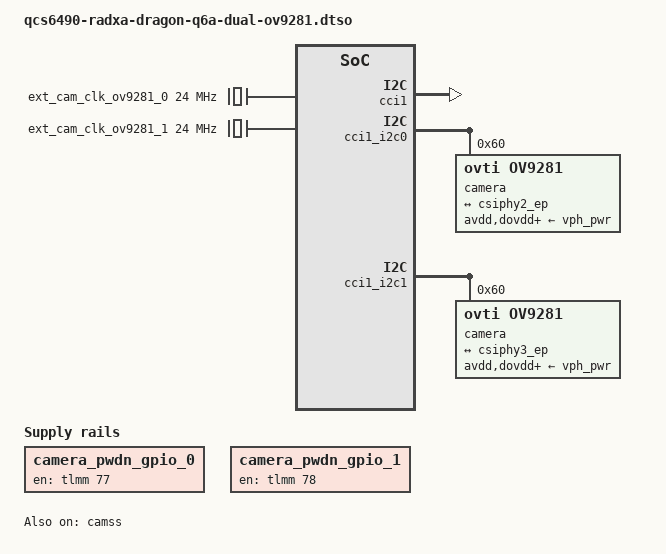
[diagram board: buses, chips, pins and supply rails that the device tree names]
// SPDX-License-Identifier: BSD-3-Clause
/*
 * Two Waveshare OV9281 cameras on the Dragon Q6A simultaneously.
 *
 * Extends the verified single-camera wiring with a second OV9281:
 *   CAM2 path: cci1_i2c0 / CSIPHY2 (port@2), sensor @ 0x60
 *   CAM3 path: cci1_i2c1 / CSIPHY3 (port@3), sensor @ 0x60
 * Both sensors are at I2C 0x60 but on separate CCI buses, so no conflict.
 * Power: both gpio77 and gpio78 are asserted high (verified the modules need
 * these). Modules self-clock (no host MCLK pin) -> virtual fixed-clocks.
 */

/dts-v1/;
/plugin/;

#include <dt-bindings/gpio/gpio.h>

/ {
	metadata {
		title = "Enable two Waveshare OV9281 cameras (CAM2 + CAM3)";
		compatible = "radxa,dragon-q6a";
		category = "camera";
		exclusive = "cci1_i2c0", "cci1_i2c1";
		description = "Dual Waveshare OV9281 mono global-shutter cameras.";
	};
};

&{/} {
	ext_cam_clk_ov9281_0: ext-cam-clk-ov9281-0 {
		status = "okay";
		compatible = "fixed-clock";
		clock-frequency = <24000000>;
		clock-output-names = "ext_cam_clk_ov9281_0";
		#clock-cells = <0>;
	};

	ext_cam_clk_ov9281_1: ext-cam-clk-ov9281-1 {
		status = "okay";
		compatible = "fixed-clock";
		clock-frequency = <24000000>;
		clock-output-names = "ext_cam_clk_ov9281_1";
		#clock-cells = <0>;
	};

	/* Power-enable lines: assert both; gpio77=CAM2-ish, gpio78=CAM3-ish. */
	camera_pwdn_gpio_0: camera-pwdn-gpio-0 {
		status = "okay";
		compatible = "regulator-fixed";
		regulator-name = "camera_pwdn_gpio_0";
		regulator-always-on;
		enable-active-high;
		gpios = <&tlmm 77 GPIO_ACTIVE_HIGH>;
		pinctrl-names = "default";
		pinctrl-0 = <&cam_pwdn_gpio_0>;
	};

	camera_pwdn_gpio_1: camera-pwdn-gpio-1 {
		status = "okay";
		compatible = "regulator-fixed";
		regulator-name = "camera_pwdn_gpio_1";
		regulator-always-on;
		enable-active-high;
		gpios = <&tlmm 78 GPIO_ACTIVE_HIGH>;
		pinctrl-names = "default";
		pinctrl-0 = <&cam_pwdn_gpio_1>;
	};
};

&{/reserved-memory} {
	linux,cma {
		compatible = "shared-dma-pool";
		size = <0x0 0x8000000>;
		reusable;
		linux,cma-default;
	};
};

&camss {
	vdda-phy-supply = <&vreg_l10c_0p88>;
	vdda-pll-supply = <&vreg_l6b_1p2>;

	status = "okay";

	ports {
		#address-cells = <1>;
		#size-cells = <0>;

		/* cci1_i2c0 pairs with CSIPHY2 (CAM2) */
		port@2 {
			reg = <2>;

			csiphy2_ep: endpoint {
				clock-lanes = <7>;
				data-lanes = <0 1>;
				remote-endpoint = <&ov9281_0_ep>;
			};
		};

		/* cci1_i2c1 pairs with CSIPHY3 (CAM3) */
		port@3 {
			reg = <3>;

			csiphy3_ep: endpoint {
				clock-lanes = <7>;
				data-lanes = <0 1>;
				remote-endpoint = <&ov9281_1_ep>;
			};
		};
	};
};

&cci1 {
	status = "okay";
};

&cci1_i2c0 {
	#address-cells = <1>;
	#size-cells = <0>;
	status = "okay";

	camera@60 {
		compatible = "ovti,ov9281";
		reg = <0x60>;

		clocks = <&ext_cam_clk_ov9281_0>;

		avdd-supply = <&vph_pwr>;
		dovdd-supply = <&vph_pwr>;
		dvdd-supply = <&vph_pwr>;

		port {
			ov9281_0_ep: endpoint {
				link-frequencies = /bits/ 64 <400000000>;
				data-lanes = <1 2>;
				remote-endpoint = <&csiphy2_ep>;
			};
		};
	};
};

&cci1_i2c1 {
	#address-cells = <1>;
	#size-cells = <0>;
	status = "okay";

	camera@60 {
		compatible = "ovti,ov9281";
		reg = <0x60>;

		clocks = <&ext_cam_clk_ov9281_1>;

		avdd-supply = <&vph_pwr>;
		dovdd-supply = <&vph_pwr>;
		dvdd-supply = <&vph_pwr>;

		port {
			ov9281_1_ep: endpoint {
				link-frequencies = /bits/ 64 <400000000>;
				data-lanes = <1 2>;
				remote-endpoint = <&csiphy3_ep>;
			};
		};
	};
};

&tlmm {
	cam_pwdn_gpio_0: cam-pwdn-gpio-0-state {
		pins = "gpio77";
		function = "gpio";
		drive-strength = <2>;
		bias-pull-up;
	};

	cam_pwdn_gpio_1: cam-pwdn-gpio-1-state {
		pins = "gpio78";
		function = "gpio";
		drive-strength = <2>;
		bias-pull-up;
	};
};
